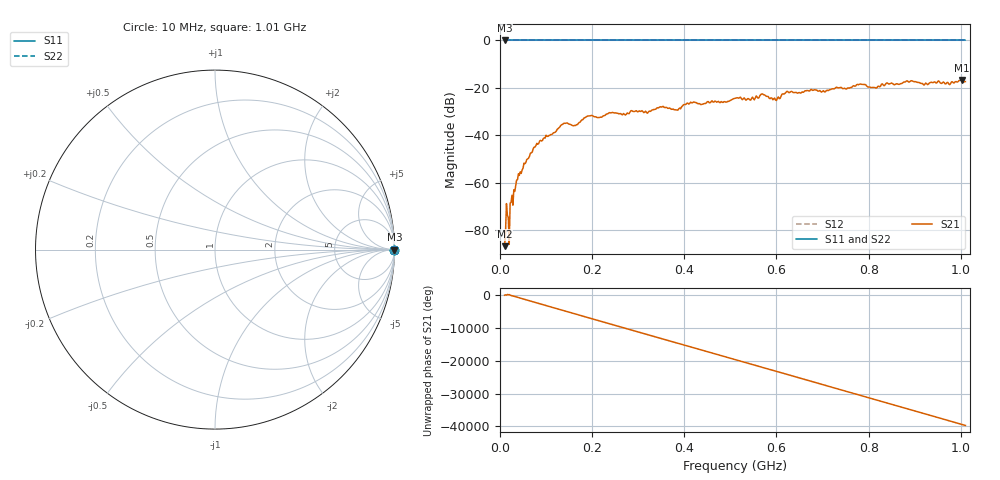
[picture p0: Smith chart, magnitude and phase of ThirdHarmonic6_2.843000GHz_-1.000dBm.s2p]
! 8/17/2025 7:39:05 AM
! C:\ANRITSUVNA\TEMP\TEMP.S2P
! CHANNEL.1
! TR.MEASUREMENT
! RAW.DATA
! RF.CORRECTION.OFF
! AVERAGING.OFF
! IF.BANDWIDTH: 5KHZ
! SWEEPTYPE:  FREQ.SWEEP(Linear)
! Reference Plane Port Info
! PORT:  PORT1  PORT2
! DISTANCE:  0  m  0  m
! TIME:  0  s  0  s
! PHASE.OFFSET:  0  deg.  0  deg.
! LOSS:  0  dB  0  dB
! REF.LOSS:  0  dB  0  dB
! REF.FREQ:  0  Hz  0  Hz
! Power Info
! POWER:  -20  dBm  -20  dBm
! EFF.POWER:  -20  dBm  -20  dBm
! SOURCE.ATTEN:  0  dB  0  dB
! TEST.ATTEN:  0  dB  0  dB
# GHZ S RI R 50.0
! FREQ.GHZ  S11RE  S11IM  S21RE  S21IM  S12RE  S12IM  S22RE  S22IM
!; PortSelection: Port_12
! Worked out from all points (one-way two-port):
!   501 points, 10 MHz to 1.01 GHz, reference 50 ohm
!   highest |S21| = -16.66 dB at 1.002 GHz (marker M1); lowest = -86.9 dB at 10 MHz (marker M2)
!   lowest |S11| = 0.0 dB at 10 MHz (marker M3)
!   |S11| at or under -10 dB: nowhere
!   |S22| runs from 0.0 to 0.0 dB; largest |S21 - S12| = 1.1
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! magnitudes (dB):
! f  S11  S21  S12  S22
! 10 MHz  0.0  -86.9  0.0  0.0
! 24 MHz  0.0  -68.4  0.0  0.0
! 26 MHz  0.0  -65.4  0.0  0.0
! 40 MHz  0.0  -56.3  0.0  0.0
! 76 MHz  0.0  -45.0  0.0  0.0
! 136 MHz  0.0  -35.4  0.0  0.0
! 164 MHz  0.0  -35.9  0.0  0.0
! 178 MHz  0.0  -33.5  0.0  0.0
! 194 MHz  0.0  -31.8  0.0  0.0
! 322 MHz  0.0  -30.2  0.0  0.0
! 344 MHz  0.0  -28.5  0.0  0.0
! 382 MHz  0.0  -29.3  0.0  0.0
! 418 MHz  0.0  -26.3  0.0  0.0
! 510 MHz  0.0  -24.4  0.0  0.0
! 570 MHz  0.0  -22.6  0.0  0.0
! 596 MHz  0.0  -24.3  0.0  0.0
! 622 MHz  0.0  -21.5  0.0  0.0
! 678 MHz  0.0  -21.1  0.0  0.0
! 814 MHz  0.0  -19.9  0.0  0.0
! 844 MHz  0.0  -18.4  0.0  0.0
! 1.002 GHz  0.0  -16.7  0.0  0.0
! 1.01 GHz  0.0  -17.4  0.0  0.0
